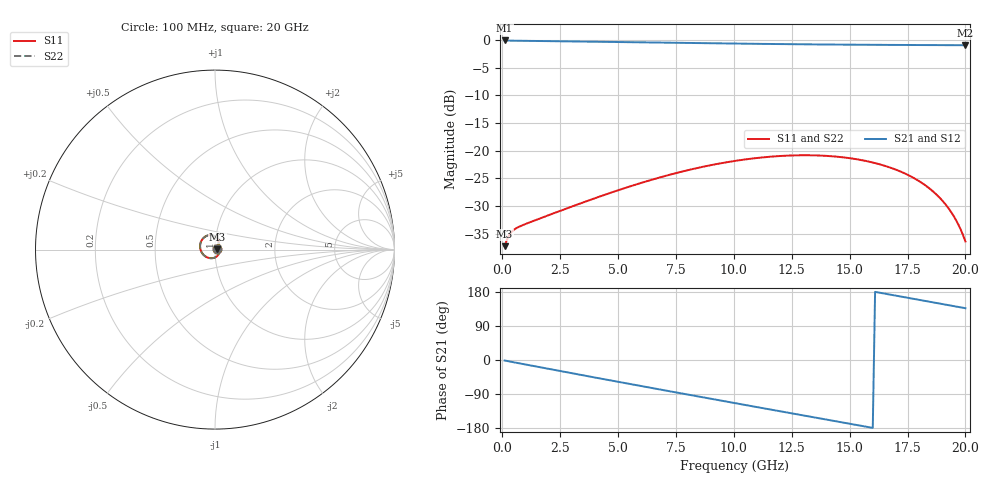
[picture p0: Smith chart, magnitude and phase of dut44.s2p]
! Touchstone file exported from HFSS 2026.1.0
!  File:  C:/ffzhzh/LocalFiles/Ansys_Project_Files/temp_train_TSV_RDL_44_1782965873_45748.aedt
!  Generated:  12:26:32 PM Jul  2, 2026
!  Design:  TSV_RDL
!  Project:  temp_train_TSV_RDL_44_1782965873_45748
! Variables:
!  h_bsmrdl = 4.54um
!  h_ox = 20um
!  h_rdl = 5um
!  h_sub = 82.92um
!  h_tmrdl = 6um
!  h_tsv = 82.92um
!  h_via = 3um
!  l_bsmrdl = 724.74um
!  l_sub = 3667.35um
!  l_tmrdl = 244.94um
!  m_sub = 200um
!  pitch = 25.83um
!  r_tsv = 8.15um
!  s_tmrdl = 10um
!  w_bsmrdl = 22.5um
!  w_sub = 500um
!  w_tmrdl = 15.29um
!  x_tsv_center1 = 252.585um
!  x_tsv_center2 = 999.825um
!  x_tsv_center3 = 1260.055um
!  x_tsv_center4 = 2007.295um
!  x_tsv_center5 = 2267.525um
!  x_tsv_center6 = 3014.765um
# GHz S MA R 50.000000
! Terminal data exported
! Port[1] = TM_RDL1_1_T1
! Port[2] = TM_RDL5_1_T1
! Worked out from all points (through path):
!   200 points, 100 MHz to 20 GHz, reference 50 ohm
!   highest |S21| = -0.12 dB at 100 MHz (marker M1); lowest = -1.0 dB at 20 GHz (marker M2)
!   group delay of S21, straight-line fit = 30.9 ps
!   lowest |S11| = -37.2 dB at 100 MHz (marker M3), VSWR 1.03, Z = 51.4 + j0.223 ohm
!   |S11| at or under -10 dB: start of sweep to end of sweep
!   |S22| runs from -37.2 to -20.8 dB; largest |S21 - S12| = 1.9e-14
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0.1  0.0138 9.1  0.9864 -1.3  0.9864 -1.3  0.0138 9.1
! Gamma 0 0 0 0
! Port Impedance 50 0 50 0
0.3  0.0174 9.9  0.9831 -3.7  0.9831 -3.7  0.0174 9.9
0.6  0.02001 2.4  0.9803 -7.2  0.9803 -7.2  0.02001 2.4
2  0.02626 -26.4  0.973 -23.4  0.973 -23.4  0.02627 -26.4
3.5  0.03427 -58.5  0.9641 -40.5  0.9641 -40.5  0.03431 -58.5
4.4  0.03993 -77.8  0.9585 -50.8  0.9585 -50.8  0.03998 -77.8
5.2  0.04545 -94.5  0.9534 -59.8  0.9534 -59.8  0.0455 -94.4
6.8  0.05744 -125.8  0.9435 -77.7  0.9435 -77.7  0.05752 -125.7
7.6  0.06364 -140.3  0.9387 -86.7  0.9387 -86.7  0.06373 -140.2
8.4  0.06974 -154.1  0.934 -95.5  0.934 -95.5  0.06982 -154.1
9.2  0.0755 -167.3  0.9293 -104.4  0.9293 -104.4  0.07559 -167.2
10.1  0.0813 178.5  0.9243 -114.4  0.9243 -114.4  0.08139 178.6
11.8  0.0891 153.4  0.9157 -133.1  0.9157 -133.1  0.08918 153.5
13.4  0.09095 131.2  0.9088 -150.7  0.9088 -150.7  0.09101 131.3
15.1  0.08516 108.6  0.9032 -169.3  0.9032 -169.3  0.0852 108.7
16.7  0.07115 87.7  0.8994 173.2  0.8994 173.2  0.07115 87.9
17.9  0.05482 71.8  0.8972 159.9  0.8972 159.9  0.05481 71.9
18.8  0.03939 58.9  0.8957 150.0  0.8957 150.0  0.03935 59.1
19.2  0.03172 52.4  0.895 145.5  0.895 145.5  0.03167 52.6
19.5  0.02568 46.7  0.8944 142.2  0.8944 142.2  0.02562 46.9
19.8  0.01944 39.6  0.8938 138.9  0.8938 138.9  0.01938 39.8
20  0.01522 33.1  0.8934 136.6  0.8934 136.6  0.01515 33.4
